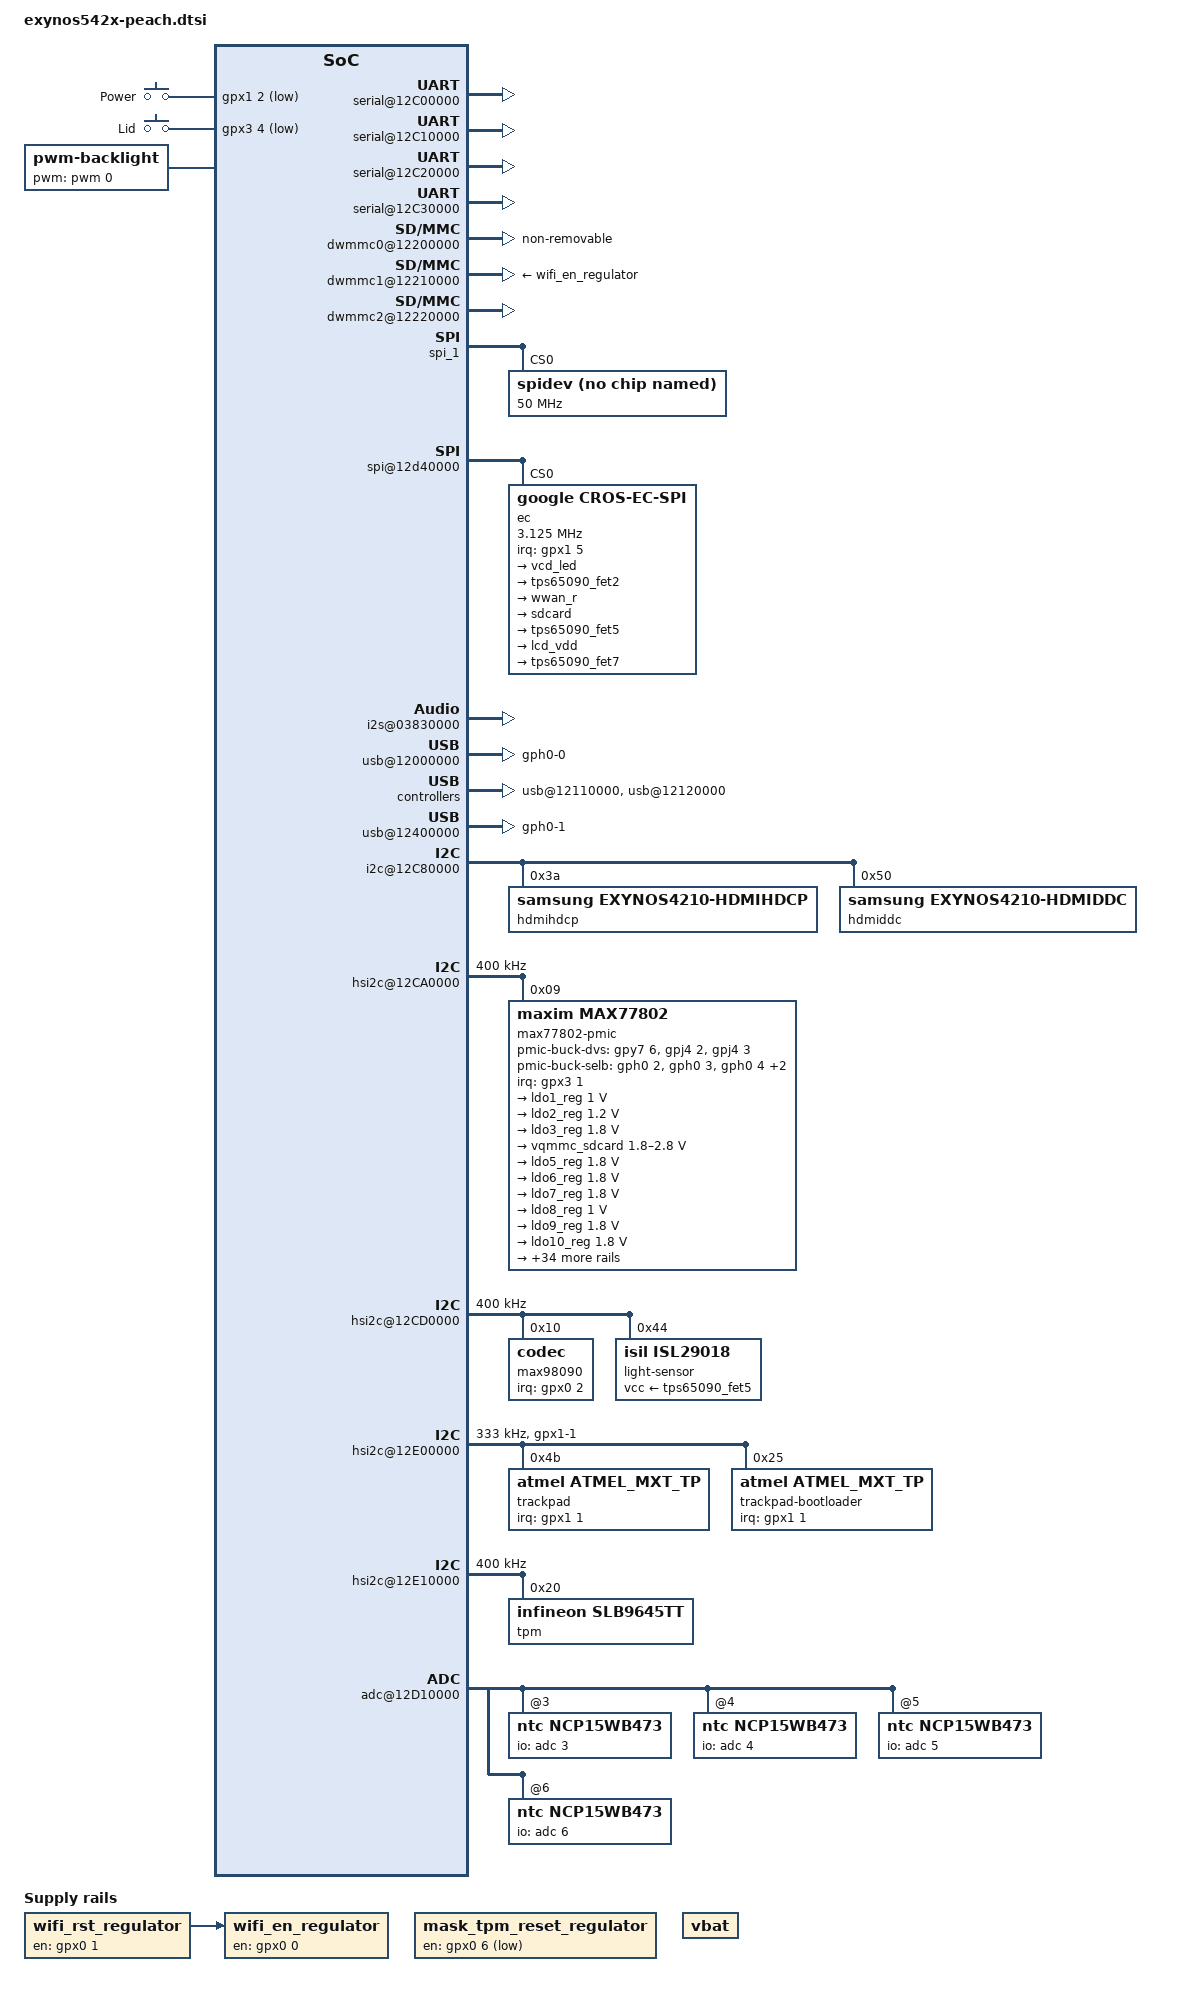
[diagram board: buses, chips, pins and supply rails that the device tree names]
/*
 * Common device tree include for all Peach board revisions
 *
 * Copyright (c) 2013 Google, Inc
 *
 * This program is free software; you can redistribute it and/or modify
 * it under the terms of the GNU General Public License version 2 as
 * published by the Free Software Foundation.
 */

#include "marvell_txpwrlimit.dtsi"

/ {
	aliases {
		i2c20 = &i2c_20;
	};

	chosen {
		bootargs = "";
	};

	firmware {
		chromeos {
			write-protect-gpio = <&gpx3 0 1>;

			pinctrl-names = "default";
			pinctrl-0 = <&wp_gpio>;

			nonvolatile-context-storage = "mkbp";
			chromeos-vbc-ec = <&ec>;
		};
	};

	fixed-rate-clocks {
		xxti {
			compatible = "samsung,clock-xxti";
			clock-frequency = <24000000>;
		};
	};

	pinctrl@13400000 {
		dp_hpd: dp-hpd {
			samsung,pins = "gpx2-6";
			samsung,pin-function = <0>;
			samsung,pin-pud = <3>;
			samsung,pin-drv = <0>;
		};

		ec_irq: ec-irq {
			samsung,pins = "gpx1-5";
			samsung,pin-function = <0>;
			samsung,pin-pud = <0>;
			samsung,pin-drv = <0>;
		};

		hp_det_gpio: hp-det-gpio {
			samsung,pins = "gpx2-1";
			samsung,pin-function = <0>;
			samsung,pin-pud = <0>;
			samsung,pin-drv = <0>;
		};

		hsic_reset: hsic-reset {
			samsung,pins = "gpx2-4";
			samsung,pin-function = <1>;
			samsung,pin-pud = <0>;
			samsung,pin-drv = <0>;
		};

		lid_irq: lid-irq {
			samsung,pins = "gpx3-4";
			samsung,pin-function = <0>;
			samsung,pin-pud = <0>;
			samsung,pin-drv = <0>;
		};

		mask_tpm_reset: mask-tpm-reset {
			samsung,pins = "gpx0-6";
			samsung,pin-function = <1>;
			samsung,pin-pud = <0>;
			samsung,pin-drv = <0>;
		};

		max77802_irq: max77802-irq {
			samsung,pins = "gpx3-1";
			samsung,pin-function = <0>;
			samsung,pin-pud = <0>;
			samsung,pin-drv = <0>;
		};

		max98090_irq: max98090-irq {
			samsung,pins = "gpx0-2";
			samsung,pin-function = <0>;
			samsung,pin-pud = <0>;
			samsung,pin-drv = <0>;
		};

		mic_det_gpio: mic-det-gpio {
			samsung,pins = "gpx1-7";
			samsung,pin-function = <0>;
			samsung,pin-pud = <0>;
			samsung,pid-drv = <0>;
		};

		pmic_dvs_1: pmic-dvs-1 {
			samsung,pins = "gpy7-6";
			samsung,pin-function = <1>;
			samsung,pin-pud = <0>;
			samsung,pin-drv = <0>;
		};

		power_key_irq: power-key-irq {
			samsung,pins = "gpx1-2";
			samsung,pin-function = <0>;
			samsung,pin-pud = <0>;
			samsung,pin-drv = <0>;
		};

		tpm_irq: tpm-irq {
			samsung,pins = "gpx1-0";
			samsung,pin-function = <0>;
			samsung,pin-pud = <0>;
			samsung,pin-drv = <0>;
		};

		tps65090_irq: tps65090-irq {
			samsung,pins = "gpx2-5";
			samsung,pin-function = <0>;
			samsung,pin-pud = <0>;
			samsung,pin-drv = <0>;
		};

		trackpad_irq: trackpad-irq {
			samsung,pins = "gpx1-1";
			samsung,pin-function = <0>;
			samsung,pin-pud = <0>;
			samsung,pin-drv = <0>;
		};

		wifi_en: wifi-en {
			samsung,pins = "gpx0-0";
			samsung,pin-function = <1>;
			samsung,pin-pud = <0>;
			samsung,pin-drv = <0>;
		};

		wifi_rst: wifi-rst {
			samsung,pins = "gpx0-1";
			samsung,pin-function = <1>;
			samsung,pin-pud = <0>;
			samsung,pin-drv = <0>;
		};

		wp_gpio: wp-gpio {
			samsung,pins = "gpx3-0";
			samsung,pin-function = <0>;
			samsung,pin-pud = <0>;
			samsung,pin-drv = <0>;
		};
	};

	pinctrl@13410000 {
		/* Adjust WiFi drive strengths lower for EMI */
		sd1_clk: sd1-clk {
			samsung,pin-drv = <2>;
		};
		sd1_cmd: sd1-cmd {
			samsung,pin-drv = <2>;
		};
		sd1_bus4: sd1-bus-width4 {
			samsung,pin-drv = <2>;
		};
		sd1_bus8: sd1-bus-width8 {
			samsung,pin-drv = <2>;
		};
	};

	pinctrl@14000000 {
		pmic_dvs_2: pmic-dvs-2 {
			samsung,pins = "gpj4-2";
			samsung,pin-function = <1>;
			samsung,pin-pud = <0>;
			samsung,pin-drv = <0>;
		};

		pmic_dvs_3: pmic-dvs-3 {
			samsung,pins = "gpj4-3";
			samsung,pin-function = <1>;
			samsung,pin-pud = <0>;
			samsung,pin-drv = <0>;
		};
	};

	pinctrl@14010000 {
		/* Drive SPI lines at x2 for better integrity */
		spi2_bus: spi2-bus {
			samsung,pin-drv = <2>;
		};

		/*
		 * TODO(sjg@chromium.org: Do we need this
		 * drive strength 3? Need to test.
		 */
		ec_spi_cs: ec-spi-cs {
			samsung,pins = "gpb1-2";
			samsung,pin-function = <1>;
			samsung,pin-pud = <0>;
			samsung,pin-drv = <3>;
		};

		spi_flash_cs: spi-flash-cs {
			samsung,pins = "gpa2-5";
			samsung,pin-function = <1>;
			samsung,pin-pud = <0>;
			samsung,pin-drv = <3>;
		};

		usb3_vbus0_en: usb3-vbus0-en {
			samsung,pins = "gph0-0";
			samsung,pin-function = <1>;
			samsung,pin-pud = <0>;
			samsung,pin-drv = <0>;
		};

		usb3_vbus1_en: usb3-vbus1-en {
			samsung,pins = "gph0-1";
			samsung,pin-function = <1>;
			samsung,pin-pud = <0>;
			samsung,pin-drv = <0>;
		};

		pmic_selb: pmic-selb {
			samsung,pins = "gph0-2", "gph0-3", "gph0-4", "gph0-5",
				       "gph0-6";
			samsung,pin-function = <1>;
			samsung,pin-pud = <0>;
			samsung,pin-drv = <0>;
		};

		backlight_pwm: backlight-pwm {
			samsung,pins = "gpb2-0";
			samsung,pin-function = <2>;
			samsung,pin-pud = <0>;
			samsung,pin-drv = <0>;
		};
	};

	gpio-keys {
		compatible = "gpio-keys";

		pinctrl-names = "default";
		pinctrl-0 = <&power_key_irq &lid_irq>;

		power {
			label = "Power";
			gpios = <&gpx1 2 1>;
			linux,code = <116>; /* KEY_POWER */
			gpio-key,wakeup;
		};

		lid-switch {
			label = "Lid";
			gpios = <&gpx3 4 1>;
			linux,input-type = <5>; /* EV_SW */
			linux,code = <0>; /* SW_LID */
			debounce-interval = <1>;
			gpio-key,wakeup;
		};
	};

	ramoops {
		compatible = "ramoops";
		reg = <0x41f00000 0x00100000>;
		record-size = <0x00020000>;
		dump-oops;
	};

	rtc {
		status = "okay";
	};

	/* TODO: Should only enable UART3? */
	serial@12C00000 {
		status = "okay";
	};

	serial@12C10000 {
		status = "okay";
	};

	serial@12C20000 {
		status = "okay";
	};

	serial@12C30000 {
		status = "okay";
	};

	codec@11000000 {
		samsung,mfc-r = <0x43000000 0x800000>;
		samsung,mfc-l = <0x51000000 0x800000>;
	};

	dwmmc0@12200000 {
		status = "okay";
		num-slots = <1>;
		broken-cd;
		bypass-smu;
		supports-highspeed;
		non-removable;
		caps2-mmc-hs200-1_8v;
		fifo-depth = <0x40>;
		card-detect-delay = <200>;
		clock-frequency = <400000000>;
		samsung,dw-mshc-ciu-div = <3>;
		samsung,dw-mshc-sdr-timing = <0 4>;
		samsung,dw-mshc-ddr-timing = <0 2>;
		pinctrl-names = "default";
		pinctrl-0 = <&sd0_clk &sd0_cmd &sd0_bus4 &sd0_bus8>;
		slot@0 {
			reg = <0>;
			bus-width = <8>;
		};
	};

	dwmmc1@12210000 {
		/*
		 * The current best way to ensure that reset/enable and clocks
		 * are available before we try to probe the WiFi card is through
		 * a chain of regulators.
		 */
		vmmc-supply = <&wifi_en_regulator>;

		status = "okay";
		num-slots = <1>;
		supports-highspeed;
		supports-sdr50-mode;
		supports-sdr104-mode;
		keep-power-in-suspend;
		/* non-removable NOT set so mwifiex driver can use reset trick */
		edge-triggered-interrupts;
		broken-cd;
		bypass-smu;
		fifo-depth = <0x40>;
		card-detect-delay = <200>;
		clock-frequency = <400000000>;
		samsung,dw-mshc-ciu-div = <1>;
		samsung,dw-mshc-sdr-timing = <0 1>;
		samsung,dw-mshc-ddr-timing = <0 2>;
		pinctrl-names = "default";
		pinctrl-0 = <&sd1_clk &sd1_cmd &sd1_int &sd1_bus4 &sd1_bus8>;
		slot@0 {
			reg = <0>;
			bus-width = <4>;
		};
	};

	dwmmc2@12220000 {
		vqmmc-supply = <&vqmmc_sdcard>;
		status = "okay";
		num-slots = <1>;
		supports-highspeed;
		fifo-depth = <0x40>;
		card-detect-delay = <200>;
		clock-frequency = <400000000>;
		samsung,dw-mshc-ciu-div = <3>;
		samsung,dw-mshc-sdr-timing = <2 3>;
		samsung,dw-mshc-ddr-timing = <1 2>;
		pinctrl-names = "default";
		pinctrl-0 = <&sd2_clk &sd2_cmd &sd2_cd &sd2_bus4>;
		slot@0 {
			reg = <0>;
			bus-width = <4>;
			wp-gpios = <&gpc4 0 0>;
		};
	};

	/* TODO: Add fimd, display port, etc */

	spi_1: spi@12d30000 {
		status = "okay";
		samsung,spi-src-clk = <0>;
		num-cs = <1>;

		spidev@0 {
			compatible = "spidev";
			reg = <0>;
			spi-max-frequency = <50000000>;
			pinctrl-names = "default";
			pinctrl-0 = <&spi_flash_cs>;

			controller-data {
				cs-gpio = <&gpa2 5 0>;
				samsung,spi-feedback-delay = <2>;
			};
		};
	};

	/* spi_2 */
	spi@12d40000 {
		status = "okay";
		samsung,spi-src-clk = <0>;
		num-cs = <1>;
		ec: cros-ec@0 {
			compatible = "google,cros-ec-spi";

			spi-max-frequency = <3125000>;

			pinctrl-names = "default";
			pinctrl-0 = <&ec_spi_cs &ec_irq>;

			reg = <0>;
			interrupts = <5 0>;
			interrupt-parent = <&gpx1>;

			controller-data {
				cs-gpio = <&gpb1 2 0>;

				samsung,spi-feedback-delay = <1>;
			};

			/* Arbitrarily assign bus 20 since past exynos range */
			i2c_20: i2c-tunnel {
				compatible = "google,cros-ec-i2c-tunnel";
				#address-cells = <1>;
				#size-cells = <0>;

				google,remote-bus = <0>;
				power-regulator@48 {
					compatible = "ti,tps65090";
					reg = <0x48>;

					/*
					 * Config irq to disable internal pulls
					 * even though we run in polling mode.
					 */
					pinctrl-names = "default";
					pinctrl-0 = <&tps65090_irq>;

					vsys1-supply = <&vbat>;
					vsys2-supply = <&vbat>;
					vsys3-supply = <&vbat>;
					infet1-supply = <&vbat>;
					infet2-supply = <&vbat>;
					infet3-supply = <&vbat>;
					infet4-supply = <&vbat>;
					infet5-supply = <&vbat>;
					infet6-supply = <&vbat>;
					infet7-supply = <&vbat>;
					vsys-l1-supply = <&vbat>;
					vsys-l2-supply = <&vbat>;

					regulators {
						dcdc1 {
							ti,enable-ext-control;
						};
						dcdc2 {
							ti,enable-ext-control;
						};
						dcdc3 {
							ti,enable-ext-control;
						};
						fet1 {
							regulator-name = "vcd_led";
						};
						tps65090_fet2: fet2 {
							regulator-name = "video_mid";
							regulator-always-on;
						};
						fet3 {
							regulator-name = "wwan_r";
							regulator-always-on;
						};
						fet4 {
							regulator-name = "sdcard";
							regulator-always-on;
						};
						tps65090_fet5: fet5 {
							regulator-name = "camout";
						};
						fet6 {
							regulator-name = "lcd_vdd";
						};
						tps65090_fet7: fet7 {
							regulator-name = "video_mid_1a";
							regulator-always-on;
						};
						ldo1 {
						};
						ldo2 {
						};
					};

					charger {
						compatible = "ti,tps65090-charger";
					};
				};

				battery: sbs-battery@b {
					compatible = "sbs,sbs-battery";
					reg = <0xb>;
					sbs,poll-retry-count = <1>;
					sbs,i2c-retry-count = <2>;
				};
			};

		};
	};

	/* i2s_0 */
	i2s@03830000 {
		status = "okay";
	};

	/* dw usb3_0 */
	usb@12000000 {
		status = "okay";
		samsung,vbus-gpio = <&gph0 0 0>;
		pinctrl-names = "default";
		pinctrl-0 = <&usb3_vbus0_en>;
	};

	/* ehci */
	usb@12110000 {
		status = "okay";
	};

	/* ohci */
	usb@12120000 {
		status = "okay";
	};

	/* dw usb3_1 */
	usb@12400000 {
		status = "okay";
		samsung,vbus-gpio = <&gph0 1 0>;
		pinctrl-names = "default";
		pinctrl-0 = <&usb3_vbus1_en>;
	};

	usb2_phy: usbphy@12130000 {
		samsung,hsic-reset-gpio = <&gpx2 4 1>;
		pinctrl-names = "default";
		pinctrl-0 = <&hsic_reset>;
	};

	/* i2c2 */
	i2c@12C80000 {
		status = "okay";
		samsung,i2c-sda-delay = <100>;
		samsung,i2c-max-bus-freq = <66000>;

		hdmihdcp@3a {
			compatible = "samsung,exynos4210-hdmihdcp";
			reg = <0x3a>;
		};

		hdmiddc@50 {
			compatible = "samsung,exynos4210-hdmiddc";
			reg = <0x50>;
		};
	};

	/* hsi2c4 */
	hsi2c@12CA0000 {
		status = "okay";
		clock-frequency = <400000>;

		max77802-pmic@9 {
			compatible = "maxim,max77802";
			interrupt-parent = <&gpx3>;
			interrupts = <1 0>;
			pinctrl-names = "default";
			pinctrl-0 = <&max77802_irq>, <&pmic_selb>,
				    <&pmic_dvs_1>, <&pmic_dvs_2>, <&pmic_dvs_3>;
			wakeup-source;
			reg = <0x9>;

			/* Using idx 1 means warm reset will get good voltage */
			max77xxx,pmic-buck-default-dvs-idx = <1>;
			max77xxx,pmic-buck-dvs-gpios = <&gpy7 6 0>,
						       <&gpj4 2 0>,
						       <&gpj4 3 0>;
			max77xxx,pmic-buck-selb-gpios = <&gph0 2 0>,
							<&gph0 3 0>,
							<&gph0 4 0>,
							<&gph0 5 0>,
							<&gph0 6 0>;

			voltage-regulators {
				ldo1_reg: LDO1 {
					regulator-name = "vdd_1v0";
					regulator-min-microvolt = <1000000>;
					regulator-max-microvolt = <1000000>;
					regulator-always-on;
					regulator-op-mode = <2>;
				};
				ldo2_reg: LDO2 {
					regulator-name = "vdd_1v2_2";
					regulator-min-microvolt = <1200000>;
					regulator-max-microvolt = <1200000>;
				};
				ldo3_reg: LDO3 {
					regulator-name = "vdd_1v8_3";
					regulator-min-microvolt = <1800000>;
					regulator-max-microvolt = <1800000>;
					regulator-always-on;
					regulator-op-mode = <2>;
				};
				vqmmc_sdcard: ldo4_reg: LDO4 {
					regulator-name = "vdd_sd";
					regulator-min-microvolt = <1800000>;
					regulator-max-microvolt = <2800000>;
					regulator-always-on;
					regulator-op-mode = <1>;
				};
				ldo5_reg: LDO5 {
					regulator-name = "vdd_1v8_5";
					regulator-min-microvolt = <1800000>;
					regulator-max-microvolt = <1800000>;
					regulator-always-on;
					regulator-op-mode = <1>;
				};
				ldo6_reg: LDO6 {
					regulator-name = "vdd_1v8_6";
					regulator-min-microvolt = <1800000>;
					regulator-max-microvolt = <1800000>;
					regulator-always-on;
					regulator-op-mode = <1>;
				};
				ldo7_reg: LDO7 {
					regulator-name = "vdd_1v8_7";
					regulator-min-microvolt = <1800000>;
					regulator-max-microvolt = <1800000>;
				};
				ldo8_reg: LDO8 {
					regulator-name = "vdd_ldo8";
					regulator-min-microvolt = <1000000>;
					regulator-max-microvolt = <1000000>;
					regulator-always-on;
					regulator-op-mode = <1>;
				};
				ldo9_reg: LDO9 {
					regulator-name = "vdd_ldo9";
					regulator-min-microvolt = <1800000>;
					regulator-max-microvolt = <1800000>;
					regulator-always-on;
					regulator-op-mode = <2>;
				};
				ldo10_reg: LDO10 {
					regulator-name = "vdd_ldo10";
					regulator-min-microvolt = <1800000>;
					regulator-max-microvolt = <1800000>;
					regulator-always-on;
					regulator-op-mode = <1>;
				};
				ldo11_reg: LDO11 {
					regulator-name = "vdd_ldo11";
					regulator-min-microvolt = <1800000>;
					regulator-max-microvolt = <1800000>;
					regulator-always-on;
					regulator-op-mode = <2>;
				};
				ldo12_reg: LDO12 {
					regulator-name = "vdd_ldo12";
					regulator-min-microvolt = <3000000>;
					regulator-max-microvolt = <3000000>;
					regulator-always-on;
					regulator-op-mode = <1>;
				};
				ldo13_reg: LDO13 {
					regulator-name = "vdd_ldo13";
					regulator-min-microvolt = <1800000>;
					regulator-max-microvolt = <1800000>;
					regulator-always-on;
					regulator-op-mode = <2>;
				};
				ldo14_reg: LDO14 {
					regulator-name = "vdd_ldo14";
					regulator-min-microvolt = <1800000>;
					regulator-max-microvolt = <1800000>;
					regulator-always-on;
					regulator-op-mode = <1>;
				};
				ldo15_reg: LDO15 {
					regulator-name = "vdd_ldo15";
					regulator-min-microvolt = <1000000>;
					regulator-max-microvolt = <1000000>;
					regulator-always-on;
					regulator-op-mode = <1>;
				};
				ldo17_reg: LDO17 {
					regulator-name = "vdd_g3ds";
					regulator-min-microvolt = <900000>;
					regulator-max-microvolt = <1400000>;
					regulator-always-on;
					regulator-op-mode = <1>;
				};
				ldo18_reg: LDO18 {
					regulator-name = "ldo_18";
					regulator-min-microvolt = <1800000>;
					regulator-max-microvolt = <1800000>;
				};
				ldo19_reg: LDO19 {
					regulator-name = "ldo_19";
					regulator-min-microvolt = <1800000>;
					regulator-max-microvolt = <1800000>;
				};
				ldo20_reg: LDO20 {
					regulator-name = "ldo_20";
					regulator-min-microvolt = <1800000>;
					regulator-max-microvolt = <1800000>;
					regulator-always-on;
					regulator-op-mode = <0>;
				};
				ldo21_reg: LDO21 {
					regulator-name = "ldo_21";
					regulator-min-microvolt = <2800000>;
					regulator-max-microvolt = <2800000>;
				};
				ldo23_reg: LDO23 {
					regulator-name = "ld0_23";
					regulator-min-microvolt = <3300000>;
					regulator-max-microvolt = <3300000>;
				};
				ldo24_reg: LDO24 {
					regulator-name = "ldo_24";
					regulator-min-microvolt = <2800000>;
					regulator-max-microvolt = <2800000>;
				};
				ldo25_reg: LDO25 {
					regulator-name = "ldo_25";
					regulator-min-microvolt = <3300000>;
					regulator-max-microvolt = <3300000>;
				};
				ldo26_reg: LDO26 {
					regulator-name = "ldo_26";
					regulator-min-microvolt = <1200000>;
					regulator-max-microvolt = <1200000>;
				};
				ldo27_reg: LDO27 {
					regulator-name = "ldo_27";
					regulator-min-microvolt = <1200000>;
					regulator-max-microvolt = <1200000>;
				};
				ldo28_reg: LDO28 {
					regulator-name = "ldo_28";
					regulator-min-microvolt = <1800000>;
					regulator-max-microvolt = <1800000>;
				};
				ldo29_reg: LDO29 {
					regulator-name = "ldo_29";
					regulator-min-microvolt = <1800000>;
					regulator-max-microvolt = <1800000>;
				};
				ldo30_reg: LDO30 {
					regulator-name = "vdd_mifs";
					regulator-min-microvolt = <1000000>;
					regulator-max-microvolt = <1000000>;
					regulator-op-mode = <1>;
					regulator-always-on;
				};
				ldo32_reg: LDO32 {
					regulator-name = "ldo_32";
					regulator-min-microvolt = <3000000>;
					regulator-max-microvolt = <3000000>;
				};
				ldo33_reg: LDO33 {
					regulator-name = "ldo_33";
					regulator-min-microvolt = <2800000>;
					regulator-max-microvolt = <2800000>;
				};
				ldo34_reg: LDO34 {
					regulator-name = "ldo_34";
					regulator-min-microvolt = <3000000>;
					regulator-max-microvolt = <3000000>;
				};
				ldo35_reg: LDO35 {
					regulator-name = "ldo_35";
					regulator-min-microvolt = <1200000>;
					regulator-max-microvolt = <1200000>;
				};
				buck1_reg: BUCK1 {
					regulator-name = "vdd_mif";
					regulator-min-microvolt = <800000>;
					regulator-max-microvolt = <1300000>;
					regulator-always-on;
					regulator-boot-on;
					regulator-op-mode = <1>;
					regulator-ramp-delay = <12500>;
				};
				buck2_reg: BUCK2 {
					regulator-name = "vdd_arm_real";
					regulator-min-microvolt = <800000>;
					regulator-max-microvolt = <1500000>;
					regulator-always-on;
					regulator-boot-on;
					regulator-op-mode = <1>;
					regulator-ramp-delay = <12500>;
				};
				buck3_reg: BUCK3 {
					regulator-name = "vdd_int_real";
					regulator-min-microvolt = <800000>;
					regulator-max-microvolt = <1400000>;
					regulator-always-on;
					regulator-boot-on;
					regulator-op-mode = <1>;
					regulator-ramp-delay = <12500>;
				};
				buck4_reg: BUCK4 {
					regulator-name = "vdd_g3d";
					regulator-min-microvolt = <700000>;
					regulator-max-microvolt = <1400000>;
					/*
					 * TODO(sjg@chromium.org): Maybe remove
					 * this once things are hooked up.
					 */
					regulator-always-on;
					regulator-boot-on;
					regulator-op-mode = <1>;
					regulator-ramp-delay = <12500>;
				};
				buck5_reg: BUCK5 {
					regulator-name = "vdd_1v2";
					regulator-min-microvolt = <1200000>;
					regulator-max-microvolt = <1200000>;
					regulator-always-on;
					regulator-boot-on;
					regulator-op-mode = <1>;
				};
				buck6_reg: BUCK6 {
					regulator-name = "vdd_kfc";
					regulator-min-microvolt = <800000>;
					regulator-max-microvolt = <1500000>;
					/*
					 * TODO(sjg@chromium.org): Can this
					 * be powered off?
					 */
					regulator-always-on;
					regulator-boot-on;
					regulator-op-mode = <1>;
					regulator-ramp-delay = <12500>;
				};
				buck7_reg: BUCK7 {
					regulator-name = "vdd_1v35";
					regulator-min-microvolt = <1350000>;
					regulator-max-microvolt = <1350000>;
					regulator-always-on;
					regulator-boot-on;
					regulator-op-mode = <3>;
				};
				buck8_reg: BUCK8 {
					regulator-name = "vdd_emmc";
					regulator-min-microvolt = <2850000>;
					regulator-max-microvolt = <2850000>;
					regulator-always-on;
					regulator-boot-on;
					regulator-op-mode = <1>;
				};
				buck9_reg: BUCK9 {
					regulator-name = "vdd_2v";
					regulator-min-microvolt = <2000000>;
					regulator-max-microvolt = <2000000>;
					regulator-always-on;
					regulator-boot-on;
					regulator-op-mode = <3>;
				};
				buck10_reg: BUCK10 {
					regulator-name = "vdd_1v8";
					regulator-min-microvolt = <1800000>;
					regulator-max-microvolt = <1800000>;
					regulator-always-on;
					regulator-boot-on;
					regulator-op-mode = <3>;
				};
				en32khz_ap: EN32KHZ_AP {
					regulator-name = "en32khz_ap";
					regulator-always-on;
				};
				en32khz_cp: EN32KHZ_CP {
					regulator-name = "en32khz_cp";
					regulator-always-on;
				};
			};

			maxim_rtc: rtc {
			};
		};
	};

	/* hsi2c7 */
	hsi2c@12CD0000 {
		status = "okay";
		clock-frequency = <400000>;

		max98090: codec@10 {
			/* compatible string defined in variant-boards */
			reg = <0x10>;
			interrupts = <2 0>;
			interrupt-parent = <&gpx0>;
			pinctrl-names = "default";
			pinctrl-0 = <&max98090_irq>;
		};

		light-sensor@44 {
			compatible = "isil,isl29018";
			reg = <0x44>;
			vcc-supply = <&tps65090_fet5>;
		};
	};

	/* hsi2c8 */
	hsi2c@12E00000 {
		status = "okay";
		clock-frequency = <333000>;

		/*
		 * TODO: for now config the IRQ at the i2c level since
		 * pinctrl can't handle sharing it between two children, even
		 * if one fails to probe.
		 * See crosbug.com/p/20329
		 */
		pinctrl-names = "default";
		pinctrl-0 = <&i2c8_hs_bus &trackpad_irq>;

		/* Only one of the following trackpads should be probed */
		trackpad@4b {
			reg=<0x4b>;
			compatible="atmel,atmel_mxt_tp";
			interrupts=<1 0>;
			interrupt-parent=<&gpx1>;
			wakeup-source;
		};

		trackpad-bootloader@25 {
			reg=<0x25>;
			compatible="atmel,atmel_mxt_tp";
			interrupts=<1 0>;
			interrupt-parent=<&gpx1>;
			wakeup-source;
		};
	};

	/* hsi2c9 */
	hsi2c@12E10000 {
		status = "okay";
		clock-frequency = <400000>;

		tpm@20 {
			/* Unused irq; but still need to configure the pins */
			pinctrl-names = "default";
			pinctrl-0 = <&tpm_irq>;

			compatible = "infineon,slb9645tt";
			reg = <0x20>;
			powered-while-suspended;
		};
	};

	sound {
		/* compatible string defined in variant-boards */
		samsung,i2s-controller = <&i2s_0>;
		samsung,audio-codec = <&max98090>;
		samsung,mic-det-gpios = <&gpx1 7 1>;
		samsung,hp-det-gpios = <&gpx2 1 0>;
		clocks = <&clock 3>, <&clock 4>, <&clock 1025>,
			<&clock 148>, <&clock_audss EXYNOS_MOUT_AUDSS>,
			<&clock_audss EXYNOS_MOUT_I2S>;
		clock-names = "fout_epll", "sclk_epll", "mout_audio0",
			"sclk_audio0", "mout_audss", "mout_i2s";
		pinctrl-names = "default";
		pinctrl-0 = <&mic_det_gpio &hp_det_gpio>;
	};

	fimd {
		samsung,fimd-vidout-rgb;
		samsung,fimd-inv-vclk;
		samsung,default-window = <0>;
		samsung,cursor-window = <4>;
		samsung,fimd-win-bpp = <32>;
	};

	display-port-controller {
		samsung,dp-display = <&lcd_dp0>;
		samsung,dp-frame-rate = <60>;
		samsung,color-space = <0>;
		samsung,dynamic-range = <0>;
		samsung,ycbcr-coeff = <0>;
		samsung,color-depth = <1>;
		samsung,lane-count = <2>;
		samsung,hpd-gpio = <&gpx2 6 0>;
		pinctrl-names = "default";
		pinctrl-0 = <&dp_hpd>;
	};

	hdmi {
		hpd-gpio = <&gpx3 7 0>;
		pinctrl-names = "default";
		pinctrl-0 = <&hdmi_hpd_irq>;

		hdmi-en-supply = <&tps65090_fet7>;
		vdd-supply = <&ldo8_reg>;
		vdd_osc-supply = <&ldo10_reg>;
		vdd_pll-supply = <&ldo8_reg>;
	};

	/* Chain regulators to ensure proper Wifi turn on sequence */
	wifi_rst_regulator: wifi-rst-regulator {
		compatible = "regulator-fixed";
		regulator-name = "wifi-rst-l";
		gpio = <&gpx0 1 0>;
		enable-active-high;
		startup-delay-us = <1500>;
		pinctrl-names = "default";
		pinctrl-0 = <&wifi_rst>;

		/*
		 * Technically we should have a vin-supply of the 32k clock.
		 * ...but that causes a deferred probe of this regulator
		 * despite the fact that we don't need to enable it until
		 * much later.  Skip the dependency since we know that the
		 * 32k clock will always be kept on from early boot.
		 *
		 * vin-supply = <&en32khz_cp>;
		 */
	};
	wifi_en_regulator: wifi-en-regulator {
		compatible = "regulator-fixed";
		regulator-name = "wifi-en";
		gpio = <&gpx0 0 0>;
		enable-active-high;
		pinctrl-names = "default";
		pinctrl-0 = <&wifi_en>;
		vin-supply = <&wifi_rst_regulator>;
	};

	/* We need GPX0_6 to be low at sleep time; just keep it low always */
	mask_tpm_reset_regulator: mask-tpm-reset-regulator {
		compatible = "regulator-fixed";
		regulator-name = "mask-tpm-reset ";
		gpio = <&gpx0 6 0>;
		enable-active-low;
		regulator-boot-on;
		regulator-always-on;
		pinctrl-names = "default";
		pinctrl-0 = <&mask_tpm_reset>;
	};

	vbat: fixed-regulator {
		compatible = "regulator-fixed";
		regulator-name = "vbat-supply";
		regulator-boot-on;
		regulator-always-on;
	};

	adc@12D10000 {
		vdd-supply = <&ldo9_reg>;
		ncp15wb473@3 {
			compatible = "ntc,ncp15wb473";
			pullup-uv = <1800000>;
			pullup-ohm = <47000>;
			pulldown-ohm = <0>;
			io-channels = <&adc 3>;
		};
		ncp15wb473@4 {
			compatible = "ntc,ncp15wb473";
			pullup-uv = <1800000>;
			pullup-ohm = <47000>;
			pulldown-ohm = <0>;
			io-channels = <&adc 4>;
		};
		ncp15wb473@5 {
			compatible = "ntc,ncp15wb473";
			pullup-uv = <1800000>;
			pullup-ohm = <47000>;
			pulldown-ohm = <0>;
			io-channels = <&adc 5>;
		};
		ncp15wb473@6 {
			compatible = "ntc,ncp15wb473";
			pullup-uv = <1800000>;
			pullup-ohm = <47000>;
			pulldown-ohm = <0>;
			io-channels = <&adc 6>;
		};
	};

	backlight {
		compatible = "pwm-backlight";
		pwms = <&pwm 0 1000000 0>;
		max-brightness = <2800>;
		default-brightness-level = <2800>;
		pinctrl-0 = <&backlight_pwm>;
		pinctrl-names = "default";
	};

	pinctrl@13400000 {
		gpy7: gpy7 {
			powerdown-settings = <3 3 3 3 3 3 6 2>;
		};
	};
	pinctrl@13410000 {
		gpc0: gpc0 {
			powerdown-settings = <6 3 5 3 3 3 3 3>;
		};
		gpc1: gpc1 {
			powerdown-settings = <6 2 3 2 2 2 2 3>;
		};
		gpc2: gpc2 {
			powerdown-settings = <6 2 2 2 2 2 2>;
		};
		gpc3: gpc3 {
			powerdown-settings = <3 3 3 3>;
		};
		gpc4: gpc4 {
			powerdown-settings = <2 3>;
		};
		gpd1: gpd1 {
			powerdown-settings = <2 6 6 6 2 2 2 2>;
		};
		gpy0: gpy0 {
			powerdown-settings = <2 2 2 2 2 2>;
		};
		gpy1: gpy1 {
			powerdown-settings = <2 2 2 2>;
		};
		gpy2: gpy2 {
			powerdown-settings = <2 2 2 2 2 2>;
		};
		gpy3: gpy3 {
			powerdown-settings = <3 3 3 3 3 3 3 3>;
		};
		gpy4: gpy4 {
			powerdown-settings = <3 3 3 3 3 3 3 3>;
		};
		gpy5: gpy5 {
			powerdown-settings = <3 3 3 3 3 3 3 3>;
		};
		gpy6: gpy6 {
			powerdown-settings = <3 3 3 3 3 3 3 3>;
		};
	};
	pinctrl@14000000 {
		gpe0: gpe0 {
			powerdown-settings = <3 3 3 3 3 3 3 3>;
		};
		gpe1: gpe1 {
			powerdown-settings = <3 3>;
		};
		gpf0: gpf0 {
			powerdown-settings = <3 3 3 3 3 3>;
		};
		gpf1: gpf1 {
			powerdown-settings = <3 3 3 3 3 3 3 3>;
		};
		gpg0: gpg0 {
			powerdown-settings = <3 3 3 3 3 3 3 3>;
		};
		gpg1: gpg1 {
			powerdown-settings = <3 3 3 3 3 3 3 3>;
		};
		gpg2: gpg2 {
			powerdown-settings = <3 1>;
		};
		gpj4: gpj4 {
			powerdown-settings = <3 3 6 6>;
		};
	};
	pinctrl@14010000 {
		gpa0: gpa0 {
			powerdown-settings = <3 3 3 3 3 3 2 2>;
		};
		gpa1: gpa1 {
			powerdown-settings = <3 3 3 3 3 3>;
		};
		gpa2: gpa2 {
			powerdown-settings = <2 2 3 3 6 6 1 6>;
		};
		gpb0: gpb0 {
			powerdown-settings = <3 3 3 3 3>;
		};
		gpb1: gpb1 {
			powerdown-settings = <3 6 6 1 6>;
		};
		gpb2: gpb2 {
			powerdown-settings = <3 3 2 2>;
		};
		gpb3: gpb3 {
			powerdown-settings = <3 3 3 3 2 2 2 2>;
		};
		gpb4: gpb4 {
			powerdown-settings = <2 2>;
		};
		gph0: gph0 {
			powerdown-settings = <6 6 6 6 6 6 6 5>;
		};
	};
	pinctrl@03860000 {
		gpz: gpz {
			powerdown-settings = <6 3 6 3 1 3 3>;
		};
	};

	/*
	 * Use longest HW watchdog in SoC (32 seconds) since the hardware
	 * watchdog provides no debugging information (compared to soft/hard
	 * lockup detectors) and so should be last resort.
	 */
	watchdog@101D0000 {
		timeout-sec = <32>;
	};
};
